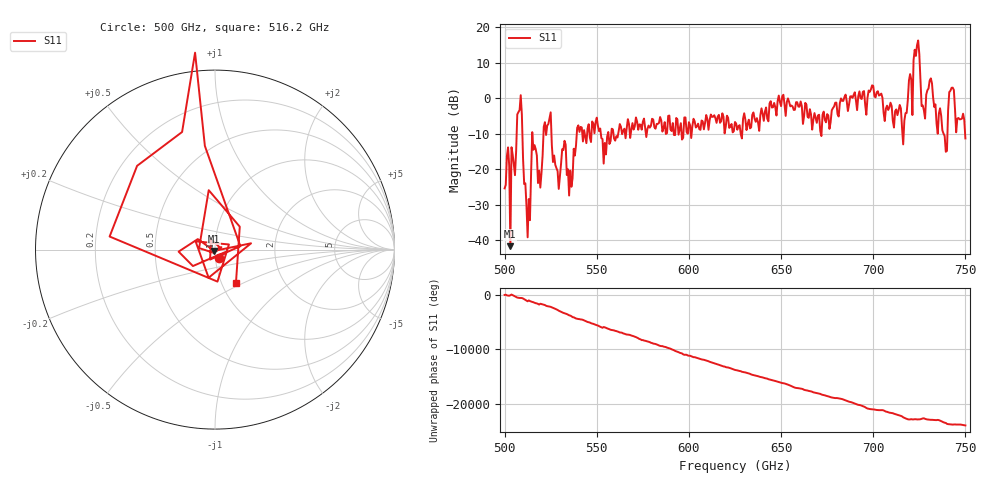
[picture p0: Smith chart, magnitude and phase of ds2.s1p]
# GHz S RI R 50
!freq	ReS11	ImS11
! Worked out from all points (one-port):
!   401 points, 500 GHz to 750 GHz, reference 50 ohm
!   lowest |S11| = -41.6 dB at 503.1 GHz (marker M1), VSWR 1.02, Z = 49.6 - j0.717 ohm
!   |S11| at or under -10 dB: start of sweep to 506.5 GHz; 515.1 GHz to 521.1 GHz (6.04 GHz wide, 1.17 % of centre); 525.4 GHz to 539.2 GHz (13.75 GHz wide, 2.58 % of centre) (the widest 3 of 25)
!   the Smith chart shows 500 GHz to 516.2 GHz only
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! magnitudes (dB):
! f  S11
! 500 GHz  -25.4
! 503.1 GHz  -41.6
! 504.4 GHz  -15.9
! 508.1 GHz  -3.3
! 512.5 GHz  -39.2
! 515.6 GHz  -14.5
! 519.4 GHz  -25.2
! 523.8 GHz  -7.2
! 528.8 GHz  -20.5
! 531.2 GHz  -14.3
! 535.6 GHz  -20.4
! 540.6 GHz  -9.5
! 553.8 GHz  -18.4
! 562.5 GHz  -7.3
! 593.8 GHz  -6.0
! 625 GHz  -6.7
! 656.2 GHz  -2.3
! 670.6 GHz  -4.7
! 687.5 GHz  0.5
! 698.8 GHz  2.5
! 716.9 GHz  -6.4
! 718.8 GHz  -0.6
! 723.8 GHz  14.9
! 727.5 GHz  -3.4
! 731.2 GHz  5.6
! 738.8 GHz  -10.6
! 742.5 GHz  2.9
! 750 GHz  -11.3
